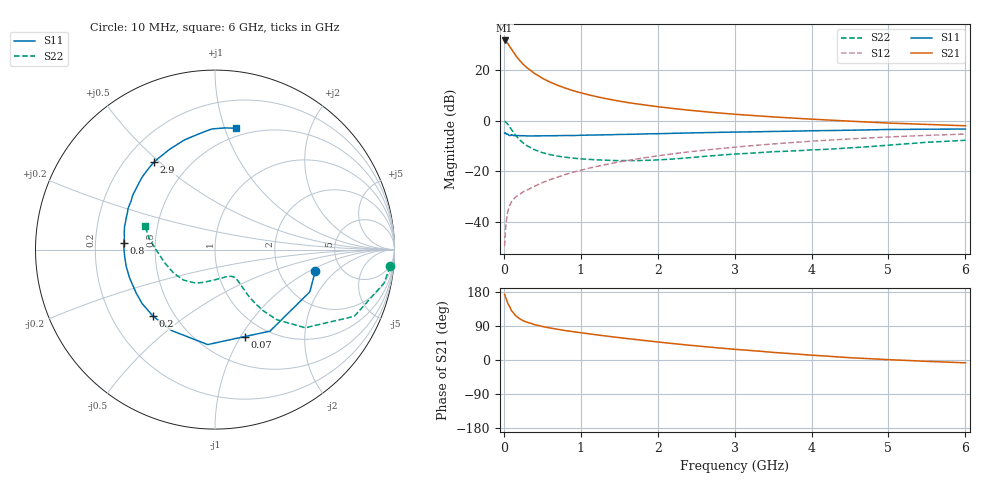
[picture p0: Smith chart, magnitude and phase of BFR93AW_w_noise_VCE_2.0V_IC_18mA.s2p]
! Infineon Technologies  Discrete & RF Semiconductors
! BFR93AW
! VCE =  2.0 V,  IC =  18 mA
! Common Emitter S-Parameters:  Jan 2017
# GHz  S  MA  R  50
!  f  S11  S21  S12  S22
! GHz  MAG  ANG  MAG  ANG  MAG  ANG  MAG  ANG
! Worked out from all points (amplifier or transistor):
!   77 points, 10 MHz to 6 GHz, reference 50 ohm
!   highest |S21| = 31.8 dB at 10 MHz (marker M1)
!   |S21| within 3 dB of that: start of sweep to 89.38 MHz
!   unconditionally stable (mu >= 1): 632.1 MHz to 2.215 GHz
!   at 130 MHz: K = 0.44, MSG = 28.9 dB, |S12| = -30.9 dB
!   at 2.2 GHz: K = 1.00, MAG = 8.7 dB, |S12| = -13.1 dB
!   at 6 GHz: K = 0.91, MSG = 1.6 dB, |S12| = -5.3 dB
!   lowest NFmin = 1.47 dB at 450 MHz
!   S11 on the Smith chart (normalised r, x): 10 MHz: 3.22, -1.15; 70 MHz: 0.80, -1.04; 200 MHz: 0.38, -0.38; 800 MHz: 0.32, +0.03; 2.9 GHz: 0.32, +0.48; 6 GHz: 0.43, +1.10
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0.01  0.5715 -12.2  38.76 173.3  0.0033 83.1  0.9796 -5.5
0.02  0.5783 -24.0  38.47 167.1  0.0066 84.1  0.9604 -11.2
0.05  0.5479 -56.0  34.14 149.7  0.0158 70.0  0.8602 -25.6
0.07  0.5124 -70.9  30.48 143.0  0.0195 64.6  0.7759 -30.8
0.1  0.5307 -94.4  26.05 129.7  0.0252 59.5  0.6651 -40.9
0.15  0.5117 -118.1  19.99 117.5  0.0307 54.8  0.521 -48.6
0.2  0.5067 -133.0  15.92 109.6  0.0345 54.4  0.4275 -52.0
0.25  0.5051 -143.5  13.18 103.8  0.0392 55.0  0.3653 -53.4
0.3  0.5014 -151.2  11.18 99.7  0.0421 56.2  0.3203 -54.1
0.4  0.5015 -161.7  8.586 93.3  0.0506 59.2  0.2662 -54.0
0.5  0.5035 -169.3  6.936 88.5  0.0593 61.8  0.2341 -53.7
0.6  0.5046 -175.0  5.834 84.5  0.0683 62.9  0.2134 -53.8
0.7  0.5068 -179.6  5.022 81.1  0.0767 65.0  0.1993 -53.9
0.8  0.5106 176.0  4.421 77.7  0.0866 65.8  0.1899 -54.8
1.1  0.5202 165.6  3.266 69.3  0.1147 66.4  0.1725 -59.8
1.5  0.5355 154.9  2.444 59.1  0.1534 65.2  0.1624 -71.1
2.1  0.5585 140.8  1.821 45.5  0.212 61.3  0.1712 -93.8
2.9  0.5932 124.9  1.383 30.0  0.29 54.3  0.2136 -120.1
3.1  0.5995 121.2  1.312 26.7  0.309 52.3  0.2232 -125.7
4.1  0.6362 104.3  1.056 11.5  0.4025 41.7  0.2683 -153.5
5.1  0.6733 90.3  0.889 0.0  0.4845 30.5  0.3372 177.7
6  0.6861 80.0  0.795 -7.5  0.5455 20.4  0.4103 161.4
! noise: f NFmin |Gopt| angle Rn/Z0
0.45  1.47  0.13  155  0.14
0.9  1.74  0.23  172  0.15
1.9  2.74  0.47  -140  0.22
2.4  3.36  0.54  -127  0.43
